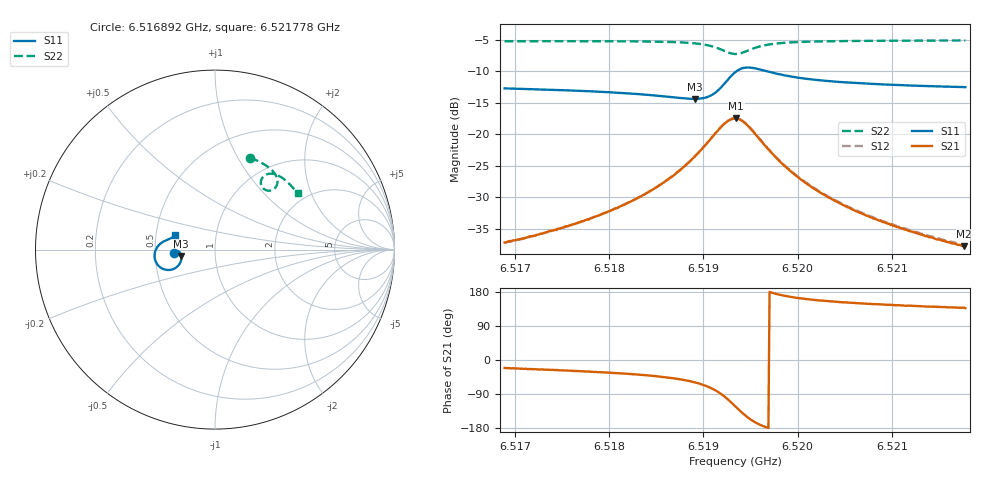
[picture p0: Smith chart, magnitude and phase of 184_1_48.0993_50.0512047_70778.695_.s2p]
#  HZ  S  RI  R  50.00
! Rohde & Schwarz Vector Network Analyzer
! Rohde-Schwarz,ZNB20-2Port,1311601062101988,3.16
! Created: UTC 12/23/2023, 3:53:05 AM
! freq[Hz]  re:S11  im:S11  re:S21  im:S21  re:S12  im:S12  re:S22  im:S22
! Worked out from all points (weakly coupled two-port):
!   401 points, 6.516892 GHz to 6.521778 GHz, reference 50 ohm
!   highest |S21| = -17.48 dB at 6.519348 GHz (marker M1); lowest = -37.7 dB at 6.521766 GHz (marker M2)
!   lowest |S11| = -14.4 dB at 6.518908 GHz (marker M3), VSWR 1.47, Z = 34.1 - j2.47 ohm
!   |S11| at or under -10 dB: start of sweep to 6.519349 GHz; 6.519677 GHz to end of sweep
!   |S22| runs from -7.2 to -5.1 dB; largest |S21 - S12| = 0.0042
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6.5168924e9  -0.2309 -0.0191  0.013 -0.00495  0.013 -0.00459  0.1956 0.5119
6.5172344e9  -0.2274 -0.014  0.0145 -0.00669  0.0148 -0.00622  0.2209 0.5019
6.5177108e9  -0.2211 -0.00813  0.0178 -0.0101  0.0181 -0.00948  0.2563 0.485
6.5181994e9  -0.2115 -0.00539  0.0231 -0.0171  0.0236 -0.0162  0.293 0.4623
6.5185291e9  -0.2019 -0.0096  0.0284 -0.027  0.0294 -0.0262  0.3185 0.441
6.518749e9  -0.1937 -0.0192  0.0327 -0.04  0.0342 -0.0393  0.3353 0.4205
6.5189078e9  -0.1881 -0.0349  0.0344 -0.057  0.0364 -0.0563  0.3455 0.399
6.5190177e9  -0.188 -0.0537  0.0314 -0.0753  0.034 -0.0748  0.3484 0.3781
6.5191032e9  -0.1945 -0.0746  0.0221 -0.0943  0.0252 -0.0944  0.3441 0.358
6.5192376e9  -0.2357 -0.1097  -0.0199 -0.1225  -0.0164 -0.124  0.3129 0.33
6.5193353e9  -0.2916 -0.1066  -0.07 -0.1139  -0.0671 -0.1169  0.2743 0.3364
6.5193475e9  -0.2984 -0.103  -0.0758 -0.1102  -0.073 -0.1132  0.2703 0.3396
6.5194575e9  -0.3352 -0.0519  -0.1029 -0.0618  -0.1017 -0.0653  0.2556 0.3795
6.5195552e9  -0.3332 -0.00907  -0.0964 -0.0255  -0.0964 -0.0286  0.2694 0.4071
6.5196651e9  -0.3172 0.0199  -0.0798 -0.00343  -0.0803 -0.00578  0.292 0.4204
6.5198972e9  -0.2872 0.0444  -0.052 0.0113  -0.0529 0.00989  0.3306 0.4207
6.5201537e9  -0.2673 0.0538  -0.0354 0.0135  -0.0365 0.0126  0.3595 0.4091
6.5205568e9  -0.2497 0.0615  -0.0228 0.0125  -0.0234 0.012  0.392 0.3866
6.5209721e9  -0.2383 0.0677  -0.0162 0.0109  -0.0165 0.0108  0.4183 0.3621
6.5213752e9  -0.2303 0.0733  -0.0121 0.00981  -0.0126 0.00956  0.4402 0.3377
6.521766e9  -0.2237 0.0785  -0.00966 0.00869  -0.00992 0.00866  0.4593 0.3135
6.5217782e9  -0.2236 0.0788  -0.00947 0.00891  -0.0101 0.00864  0.4598 0.3127
